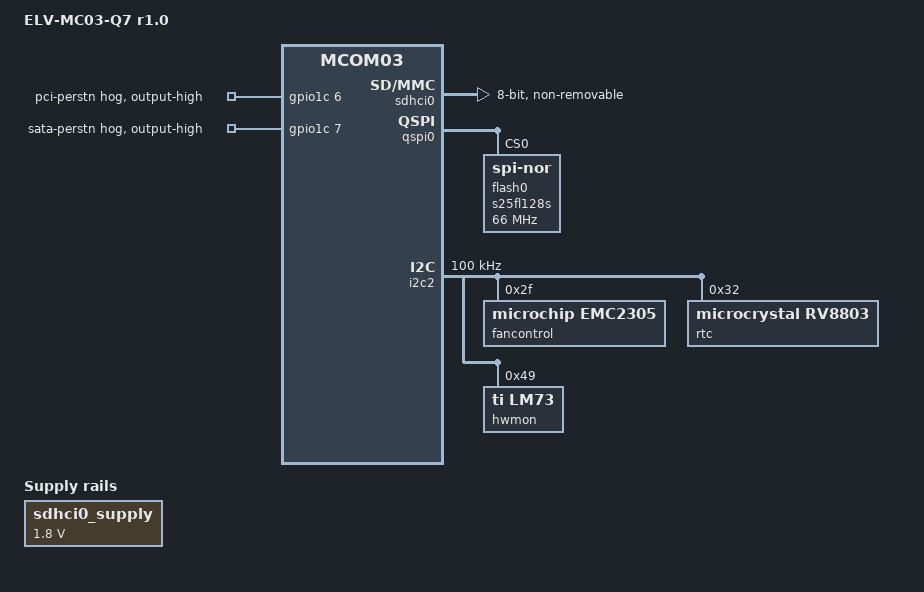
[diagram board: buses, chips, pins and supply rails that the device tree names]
// SPDX-License-Identifier: GPL-2.0+
/*
 * Copyright 2023 RnD Center "ELVEES", JSC
 */

/dts-v1/;

#include <dt-bindings/gpio/gpio.h>
#include <dt-bindings/thermal/thermal.h>

#include "mcom03.dtsi"

/ {
	model = "ELV-MC03-Q7 r1.0";
	compatible = "elvees,elvmc03q7-r1.0",
		     "elvees,elvmc03q7",
		     "elvees,mcom03";

	sdhci0_supply: regulator@0 {
		compatible = "regulator-fixed";
		regulator-name = "sdhci0-supply";
		regulator-min-microvolt = <1800000>;
		regulator-max-microvolt = <1800000>;
		regulator-always-on;
	};

	thermal-zones {
		cpu_thermal: cpu0-thermal {
			thermal-sensors = <&pvt 0>;
			polling-delay-passive = <250>;
			polling-delay = <1000>;

			trips {
				cpu_alert0: cpu-alert-0 {
					temperature = <50000>;
					hysteresis = <1000>;
					type = "active";
				};
			};
		};
	};

	/* "G2" oscillator */
	hdmi_cec_clk: hdmi_cec_clk {
		#clock-cells = <0>;
		compatible = "fixed-clock";
		clock-frequency = <12000000>;
	};
};

&gpio0a {
	gpio-line-names = "GPIO0", "GPIO1", "RTC_INT", "HDMI_INT",
		"GBE0_PD_INT", "PEWARN", "PINTn", "LVDS_IRQ";
};

&gpio0b {
	gpio-line-names = "HDMI_PD", "PFSOB", "", "GPIO2",
		"GPIO3", "GPIO4", "GPIO5", "GPIO6";
};

&gpio0c {
	gpio-line-names = "CAM0_ENA#", "CAM1_ENA#", "CAM0_RST#", "CAM1_RST#",
		"CAM0_GPIO", "CAM1_GPIO", "LVDS_EN", "RGMII_0_RST";
};

&gpio0d {
	gpio-line-names = "GPIO7", "PSTANDBY", "", "I2C0_SCL",
		"I2C0_SDA", "I2C0_SMBALERT", "SUS_S3#", "SUS_S5#";
};

&gpio1a {
	gpio-line-names = "GP0_I2C_CLK", "GP0_I2C_DAT", "I2C2_SCL", "I2C2_SDA",
		"PCIE_WAKE#", "GPII0", "GPII1", "GPII2";
};

&gpio1b {
	gpio-line-names = "I2S_CLK", "I2S_WS", "I2S_SDO", "I2S_RST#",
		"I2S_SDI", "GPO0", "UART0_TX", "UART0_RX";
};

&gpio1c {
	gpio-line-names = "SPI_SCK", "SPI_MOSI", "SPI_MISO", "SPI_CS0",
		"SPI_CS1", "GPO0", "PCIE_RST#", "SATA_PERST";

	pci-perstn {
		gpio-hog;
		gpios = <6 GPIO_ACTIVE_HIGH>;
		output-high;
	};

	sata-perstn {
		gpio-hog;
		gpios = <7 GPIO_ACTIVE_HIGH>;
		output-high;
	};
};

&gpio1d {
	gpio-line-names = "USER_LED", "", "LVDS_BLT_CTRL", "SPKR",
		"LVDS_BLEN", "LVDSPPEN", "", "THRMTRIP#";
};

/* Connected to eMMC */
&sdhci0 {
	status = "okay";

	non-removable;
	bus-width = <8>;

	vqmmc-supply = <&sdhci0_supply>;
};

&qspi0 {
	status = "okay";

	flash0: s25fl128s@0 {
		#address-cells = <1>;
		#size-cells = <1>;
		compatible = "jedec,spi-nor", "spi-flash";
		reg = <0x0>;
		/* This is the highest frequency at which all commands are
		 * supported by the flash device.
		 */
		spi-max-frequency = <66000000>;
		m25p,fast-read;
	};
};

&display_encoder {
	ports {
		port@2 {
			reg = <2>;

			rgb_out: endpoint {
				remote-endpoint = <&adv7513_in>;
			};
		};
	};
};

&lsperiph0_pinctrl {
	hdmi_int: hdmi-int {
		pins = "GPIOA_3";
		input-enable;
	};
};

&i2c2 {
	/* Not all devices are checked to 400kHz support */
	clock-frequency = <100000>;
	status = "okay";

	fancontrol: emc2301@2f {
		compatible = "microchip,emc2305";
		reg = <0x2f>;
		#address-cells = <1>;
		#size-cells = <0>;
		microchip,pwm-separate;
		#cooling-cells = <2>;

		channel@0 {
			reg = <0>;
			microchip,pwm-push-pull;
		};
	};

	rtc@32 {
		compatible = "microcrystal,rv8803";
		reg = <0x32>;
	};

	adv7513: hdmi@39 {
		#sound-dai-cells = <0>;
		compatible = "adi,adv7513";
		status = "disabled";
		reg = <0x39>, <0x3f>;
		reg-names = "main", "edid";
		interrupt-parent = <&gpio0a>;
		interrupts = <3 IRQ_TYPE_EDGE_FALLING>;
		clocks = <&hdmi_cec_clk>;
		clock-names = "cec";
		pd-gpios = <&gpio0b 0 GPIO_ACTIVE_HIGH>;
		adi,input-depth = <8>;
		adi,input-colorspace = "rgb";
		adi,input-clock = "1x";
		#address-cells = <1>;
		#size-cells = <0>;

		pinctrl-names = "default";
		pinctrl-0 = <&hdmi_int>;

		port@0 {
			reg = <0>;
			adv7513_in: endpoint {
				remote-endpoint = <&rgb_out>;
			};
		};
	};

	hwmon@49 {
		compatible = "ti,lm73";
		reg = <0x49>;
	};
};

/*
 * Upon reaching the trip point the thermal subsystem driver enables the fans.
 *
 * Thermal zones can be enabled/disabled via sysfs by writing said state into
 * the corresponding /sys/class/thermal/thermal_zoneX/mode file.
 */
&cpu_thermal {
	cooling_maps: cooling-maps {
		map0 {
			trip = <&cpu_alert0>;
			cooling-device = <&fancontrol
					  THERMAL_NO_LIMIT
					  THERMAL_NO_LIMIT>;
		};
	};
};

/* PCIe0 is connected to SATA controller. */
sata: &pcie0 { };
